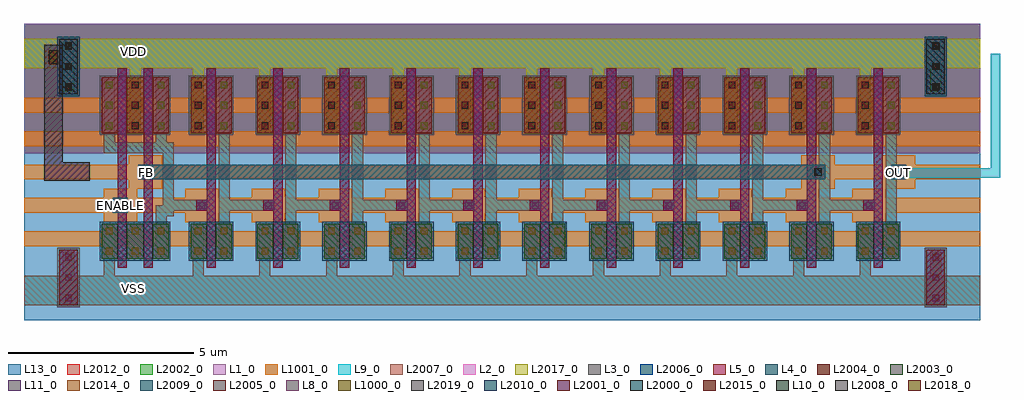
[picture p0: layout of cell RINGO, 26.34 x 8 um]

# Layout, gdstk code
import gdstk
lib = gdstk.Library(unit=1e-6, precision=1e-09)
def R(c, l, rs):  # rectangles x0, y0, x1, y1
    for r in rs: c.add(gdstk.rectangle(r[:2], r[2:], *l))
def A(c, l, x, y, w, h, nx, ny, dx, dy):  # array of equal rectangles
    R(c, l, [(x+i*dx, y+j*dy, x+i*dx+w, y+j*dy+h) for i in range(nx) for j in range(ny)])
def P(c, l, *ps):  # polygons
    for p in ps: c.add(gdstk.Polygon(p, *l))
L1_0 = (1, 0)
L2_0 = (2, 0)
L3_0 = (3, 0)
L4_0 = (4, 0)
L5_0 = (5, 0)
L8_0 = (8, 0)
L9_0 = (9, 0)
L10_0 = (10, 0)
L11_0 = (11, 0)
L13_0 = (13, 0)
L1000_0 = (1000, 0)
L1001_0 = (1001, 0)
L2000_0 = (2000, 0)
L2001_0 = (2001, 0)
L2002_0 = (2002, 0)
L2003_0 = (2003, 0)
L2004_0 = (2004, 0)
L2005_0 = (2005, 0)
L2006_0 = (2006, 0)
L2007_0 = (2007, 0)
L2008_0 = (2008, 0)
L2009_0 = (2009, 0)
L2010_0 = (2010, 0)
L2012_0 = (2012, 0)
L2014_0 = (2014, 0)
L2015_0 = (2015, 0)
L2017_0 = (2017, 0)
L2018_0 = (2018, 0)
L2019_0 = (2019, 0)

circuit_nmos2_2 = lib.new_cell('CIRCUIT_NMOS2$2')
R(circuit_nmos2_2, L2003_0, [(0,0,0.425,0.95)])

circuit_nd2x1_5 = lib.new_cell('CIRCUIT_ND2X1$5')
R(circuit_nd2x1_5, L2005_0, [(0.41,1.77,0.59,1.95), (0.41,2.32,0.59,2.5)])
R(circuit_nd2x1_5, L2007_0, [(0,0.4,2.4,1.2), (1.249,0.799,1.251,0.801), (0.35,1.2,0.65,2.56)])
circuit_nd2x1_5.add(gdstk.Reference(circuit_nmos2_2, (0.3,1.66)))

circuit_invx1_4 = lib.new_cell('CIRCUIT_INVX1$4')
R(circuit_invx1_4, L2005_0, [(0.41,1.77,0.59,1.95), (0.41,2.32,0.59,2.5)])
R(circuit_invx1_4, L2007_0, [(0,0.4,1.8,1.2), (0.949,0.799,0.951,0.801), (0.35,1.2,0.65,2.56)])
circuit_invx1_4.add(gdstk.Reference(circuit_nmos2_2, (0.3,1.66)))

circuit_tie_1 = lib.new_cell('CIRCUIT_TIE$1')
R(circuit_tie_1, L2001_0, [(0.35,0.4,0.85,1.9)])
A(circuit_tie_1, L2005_0, 0.51, 0.51, 0.18, 0.18, 1, 3, 0, 0.55)
R(circuit_tie_1, L2007_0, [(0,0.4,1.2,1.2), (0.45,0.45,0.75,1.85), (0.649,0.799,0.651,0.801)])

circuit_empty_2 = lib.new_cell('CIRCUIT_EMPTY$2')
R(circuit_empty_2, L2007_0, [(0,0.4,0.6,1.2)])

circuit_invx1_5 = lib.new_cell('CIRCUIT_INVX1$5')

circuit_nd2x1_6 = lib.new_cell('CIRCUIT_ND2X1$6')

net_bulk_vss = lib.new_cell('NET_BULK,VSS')
R(net_bulk_vss, L2007_0, [(2.949,0.849,2.951,0.851)])
net_bulk_vss.add(gdstk.Reference(circuit_nd2x1_5, (1.8,0)))
net_bulk_vss.add(gdstk.Reference(circuit_invx1_4, (4.2,0)))
net_bulk_vss.add(gdstk.Reference(circuit_tie_1, (0.6,0)))
net_bulk_vss.add(gdstk.Reference(circuit_empty_2, (0,0)))
net_bulk_vss.add(gdstk.Reference(circuit_invx1_4, (6,0)))
net_bulk_vss.add(gdstk.Reference(circuit_invx1_4, (7.8,0)))
net_bulk_vss.add(gdstk.Reference(circuit_invx1_4, (9.6,0)))
net_bulk_vss.add(gdstk.Reference(circuit_invx1_4, (11.4,0)))
net_bulk_vss.add(gdstk.Reference(circuit_invx1_4, (13.2,0)))
net_bulk_vss.add(gdstk.Reference(circuit_invx1_4, (15,0)))
net_bulk_vss.add(gdstk.Reference(circuit_invx1_4, (16.8,0)))
net_bulk_vss.add(gdstk.Reference(circuit_invx1_4, (18.6,0)))
net_bulk_vss.add(gdstk.Reference(circuit_tie_1, (24,0)))
net_bulk_vss.add(gdstk.Reference(circuit_empty_2, (25.2,0)))
net_bulk_vss.add(gdstk.Reference(circuit_invx1_4, (20.4,0)))
net_bulk_vss.add(gdstk.Reference(circuit_invx1_4, (22.2,0)))
net_bulk_vss.add(gdstk.Reference(circuit_invx1_5, (4.2,0)))
net_bulk_vss.add(gdstk.Reference(circuit_invx1_5, (6,0)))
net_bulk_vss.add(gdstk.Reference(circuit_invx1_5, (7.8,0)))
net_bulk_vss.add(gdstk.Reference(circuit_invx1_5, (9.6,0)))
net_bulk_vss.add(gdstk.Reference(circuit_invx1_5, (11.4,0)))
net_bulk_vss.add(gdstk.Reference(circuit_invx1_5, (13.2,0)))
net_bulk_vss.add(gdstk.Reference(circuit_invx1_5, (15,0)))
net_bulk_vss.add(gdstk.Reference(circuit_invx1_5, (16.8,0)))
net_bulk_vss.add(gdstk.Reference(circuit_invx1_5, (18.6,0)))
net_bulk_vss.add(gdstk.Reference(circuit_invx1_5, (20.4,0)))
net_bulk_vss.add(gdstk.Reference(circuit_invx1_5, (22.2,0)))
net_bulk_vss.add(gdstk.Reference(circuit_nd2x1_6, (1.8,0)))

circuit_m1m2 = lib.new_cell('CIRCUIT_M1M2')
R(circuit_m1m2, L2007_0, [(-0.16,-0.16,0.16,0.16)])
R(circuit_m1m2, L2008_0, [(-0.1,-0.1,0.1,0.1)])
R(circuit_m1m2, L2009_0, [(-0.2,-0.2,0.2,0.2)])

circuit_polym1 = lib.new_cell('CIRCUIT_POLYM1')
R(circuit_polym1, L2005_0, [(-0.09,-0.09,0.09,0.09)])
R(circuit_polym1, L2006_0, [(-0.15,-0.15,0.15,0.15)])
R(circuit_polym1, L2007_0, [(-0.15,-0.15,0.15,0.15)])

circuit_pmos3_2 = lib.new_cell('CIRCUIT_PMOS3$2')
R(circuit_pmos3_2, L2006_0, [(0.425,-0.25,0.675,1.75), (0.425,-0.25,0.675,1.75)])

circuit_nmos2_1 = lib.new_cell('CIRCUIT_NMOS2$1')
R(circuit_nmos2_1, L2006_0, [(0.425,-0.25,0.675,1.2)])

circuit_nd2x1_4 = lib.new_cell('CIRCUIT_ND2X1$4')
R(circuit_nd2x1_4, L2006_0, [(0.725,2.86,0.975,4.8)])
R(circuit_nd2x1_4, L2007_0, [(0.799,3.099,0.801,3.101)])
circuit_nd2x1_4.add(gdstk.Reference(circuit_polym1, (0.8,3.1)))
circuit_nd2x1_4.add(gdstk.Reference(circuit_pmos3_2, (0.3,5.05)))
circuit_nd2x1_4.add(gdstk.Reference(circuit_nmos2_1, (0.3,1.66)))

net_enable = lib.new_cell('NET_ENABLE')
R(net_enable, L2009_0, [(2.599,3.099,2.601,3.101)])
net_enable.add(gdstk.Reference(circuit_m1m2, (2.6,3.1)))
net_enable.add(gdstk.Reference(circuit_nd2x1_4, (1.8,0)))

circuit_pmos3_1 = lib.new_cell('CIRCUIT_PMOS3$1')
R(circuit_pmos3_1, L2004_0, [(0.675,0,1.1,1.5)])

circuit_nmos2 = lib.new_cell('CIRCUIT_NMOS2')
R(circuit_nmos2, L2003_0, [(0.675,0,1.1,0.95)])

circuit_invx1_1 = lib.new_cell('CIRCUIT_INVX1$1')
A(circuit_invx1_1, L2005_0, 1.11, 5.16, 0.18, 0.18, 1, 3, 0, 0.55)
R(circuit_invx1_1, L2005_0, [(1.11,1.77,1.29,1.95), (1.11,2.32,1.29,2.5)])
R(circuit_invx1_1, L2007_0, [(1.05,1.71,1.35,6.5), (1.199,3.999,1.201,4.001)])
circuit_invx1_1.add(gdstk.Reference(circuit_pmos3_1, (0.3,5.05)))
circuit_invx1_1.add(gdstk.Reference(circuit_nmos2, (0.3,1.66)))

net_out = lib.new_cell('NET_OUT')
R(net_out, L2009_0, [(23.599,3.999,23.601,4.001)])
net_out.add(gdstk.Reference(circuit_invx1_1, (22.2,0)))
net_out.add(gdstk.Reference(circuit_m1m2, (23.6,4)))

circuit_pmos3 = lib.new_cell('CIRCUIT_PMOS3')
R(circuit_pmos3, L2004_0, [(0,0,0.425,1.5)])

circuit_nd2x1_2 = lib.new_cell('CIRCUIT_ND2X1$2')
A(circuit_nd2x1_2, L2005_0, 1.11, 5.16, 0.18, 0.18, 1, 3, 0, 0.55)
R(circuit_nd2x1_2, L2007_0, [(1.05,5.1,1.35,6.8), (0,6.8,2.4,7.6), (1.249,7.199,1.251,7.201)])
circuit_nd2x1_2.add(gdstk.Reference(circuit_pmos3_1, (0.3,5.05)))
circuit_nd2x1_2.add(gdstk.Reference(circuit_pmos3, (1,5.05)))

circuit_invx1_2 = lib.new_cell('CIRCUIT_INVX1$2')
A(circuit_invx1_2, L2005_0, 0.41, 5.16, 0.18, 0.18, 1, 3, 0, 0.55)
R(circuit_invx1_2, L2007_0, [(0.35,5.1,0.65,6.5), (0.35,6.5,0.65,6.8), (0,6.8,1.8,7.6), (0.949,7.199,0.951,7.201)])
circuit_invx1_2.add(gdstk.Reference(circuit_pmos3, (0.3,5.05)))

circuit_tie = lib.new_cell('CIRCUIT_TIE')
R(circuit_tie, L2000_0, [(0.35,6.1,0.85,7.6)])
R(circuit_tie, L2002_0, [(-0.1,4.5,1.3,8)])
A(circuit_tie, L2005_0, 0.51, 6.21, 0.18, 0.18, 1, 3, 0, 0.55)
R(circuit_tie, L2007_0, [(0.45,6.15,0.75,7.55), (0,6.8,1.2,7.6), (0.649,7.199,0.651,7.201)])

circuit_nd2x1_3 = lib.new_cell('CIRCUIT_ND2X1$3')
R(circuit_nd2x1_3, L2002_0, [(-0.1,4.5,2.5,8)])

circuit_invx1_3 = lib.new_cell('CIRCUIT_INVX1$3')
R(circuit_invx1_3, L2002_0, [(-0.1,4.5,1.9,8)])

circuit_empty = lib.new_cell('CIRCUIT_EMPTY')
R(circuit_empty, L2002_0, [(0,4.5,0.6,8)])

circuit_empty_1 = lib.new_cell('CIRCUIT_EMPTY$1')
R(circuit_empty_1, L2007_0, [(0,6.8,0.6,7.6)])

net_vdd = lib.new_cell('NET_VDD')
R(net_vdd, L2007_0, [(2.949,7.249,2.951,7.251)])
net_vdd.add(gdstk.Reference(circuit_nd2x1_2, (1.8,0)))
net_vdd.add(gdstk.Reference(circuit_invx1_2, (4.2,0)))
net_vdd.add(gdstk.Reference(circuit_tie, (0.6,0)))
net_vdd.add(gdstk.Reference(circuit_nd2x1_3, (1.8,0)))
net_vdd.add(gdstk.Reference(circuit_invx1_3, (4.2,0)))
net_vdd.add(gdstk.Reference(circuit_empty, (0,0)))
net_vdd.add(gdstk.Reference(circuit_empty_1, (0,0)))
net_vdd.add(gdstk.Reference(circuit_invx1_2, (6,0)))
net_vdd.add(gdstk.Reference(circuit_invx1_3, (6,0)))
net_vdd.add(gdstk.Reference(circuit_invx1_2, (7.8,0)))
net_vdd.add(gdstk.Reference(circuit_invx1_3, (7.8,0)))
net_vdd.add(gdstk.Reference(circuit_invx1_2, (9.6,0)))
net_vdd.add(gdstk.Reference(circuit_invx1_3, (9.6,0)))
net_vdd.add(gdstk.Reference(circuit_invx1_2, (11.4,0)))
net_vdd.add(gdstk.Reference(circuit_invx1_3, (11.4,0)))
net_vdd.add(gdstk.Reference(circuit_invx1_2, (13.2,0)))
net_vdd.add(gdstk.Reference(circuit_invx1_3, (13.2,0)))
net_vdd.add(gdstk.Reference(circuit_invx1_2, (15,0)))
net_vdd.add(gdstk.Reference(circuit_invx1_3, (15,0)))
net_vdd.add(gdstk.Reference(circuit_invx1_2, (16.8,0)))
net_vdd.add(gdstk.Reference(circuit_invx1_3, (16.8,0)))
net_vdd.add(gdstk.Reference(circuit_invx1_2, (18.6,0)))
net_vdd.add(gdstk.Reference(circuit_invx1_3, (18.6,0)))
net_vdd.add(gdstk.Reference(circuit_tie, (24,0)))
net_vdd.add(gdstk.Reference(circuit_empty, (25.2,0)))
net_vdd.add(gdstk.Reference(circuit_empty_1, (25.2,0)))
net_vdd.add(gdstk.Reference(circuit_invx1_2, (20.4,0)))
net_vdd.add(gdstk.Reference(circuit_invx1_2, (22.2,0)))
net_vdd.add(gdstk.Reference(circuit_invx1_3, (20.4,0)))
net_vdd.add(gdstk.Reference(circuit_invx1_3, (22.2,0)))

circuit_invx1 = lib.new_cell('CIRCUIT_INVX1')
R(circuit_invx1, L2006_0, [(0.725,2.86,0.975,4.8)])
R(circuit_invx1, L2007_0, [(0.599,3.099,0.601,3.101)])
circuit_invx1.add(gdstk.Reference(circuit_polym1, (0.6,3.1)))
circuit_invx1.add(gdstk.Reference(circuit_pmos3_2, (0.3,5.05)))
circuit_invx1.add(gdstk.Reference(circuit_nmos2_1, (0.3,1.66)))

circuit_nd2x1_1 = lib.new_cell('CIRCUIT_ND2X1$1')
R(circuit_nd2x1_1, L2006_0, [(1.425,2.86,1.675,4.8)])
R(circuit_nd2x1_1, L2007_0, [(1.499,3.999,1.501,4.001)])
circuit_nd2x1_1.add(gdstk.Reference(circuit_polym1, (1.48,4)))
circuit_nd2x1_1.add(gdstk.Reference(circuit_pmos3_2, (1,5.05)))
circuit_nd2x1_1.add(gdstk.Reference(circuit_nmos2_1, (1,1.66)))

net_fb = lib.new_cell('NET_FB')
R(net_fb, L2007_0, [(21.75,2.95,22.65,3.25)])
R(net_fb, L2009_0, [(3.48,3.8,21.22,4.2), (3.299,3.999,3.301,4.001)])
net_fb.add(gdstk.Reference(circuit_invx1, (22.2,0)))
net_fb.add(gdstk.Reference(circuit_nd2x1_1, (1.8,0)))
net_fb.add(gdstk.Reference(circuit_m1m2, (3.28,4)))
net_fb.add(gdstk.Reference(circuit_m1m2, (21.42,4)))
net_fb.add(gdstk.Reference(circuit_invx1_1, (20.4,0)))

net__10 = lib.new_cell('NET_$10')
R(net__10, L2007_0, [(19.95,2.95,20.85,3.25)])
net__10.add(gdstk.Reference(circuit_invx1, (20.4,0)))
net__10.add(gdstk.Reference(circuit_invx1_1, (18.6,0)))

net__9 = lib.new_cell('NET_$9')
R(net__9, L2007_0, [(18.15,2.95,19.05,3.25)])
net__9.add(gdstk.Reference(circuit_invx1, (18.6,0)))
net__9.add(gdstk.Reference(circuit_invx1_1, (16.8,0)))

net__8 = lib.new_cell('NET_$8')
R(net__8, L2007_0, [(16.35,2.95,17.25,3.25)])
net__8.add(gdstk.Reference(circuit_invx1, (16.8,0)))
net__8.add(gdstk.Reference(circuit_invx1_1, (15,0)))

net__7 = lib.new_cell('NET_$7')
R(net__7, L2007_0, [(14.55,2.95,15.45,3.25)])
net__7.add(gdstk.Reference(circuit_invx1, (15,0)))
net__7.add(gdstk.Reference(circuit_invx1_1, (13.2,0)))

net__6 = lib.new_cell('NET_$6')
R(net__6, L2007_0, [(12.75,2.95,13.65,3.25)])
net__6.add(gdstk.Reference(circuit_invx1, (13.2,0)))
net__6.add(gdstk.Reference(circuit_invx1_1, (11.4,0)))

net__5 = lib.new_cell('NET_$5')
R(net__5, L2007_0, [(10.95,2.95,11.85,3.25)])
net__5.add(gdstk.Reference(circuit_invx1, (11.4,0)))
net__5.add(gdstk.Reference(circuit_invx1_1, (9.6,0)))

net__4 = lib.new_cell('NET_$4')
R(net__4, L2007_0, [(9.15,2.95,10.05,3.25)])
net__4.add(gdstk.Reference(circuit_invx1, (9.6,0)))
net__4.add(gdstk.Reference(circuit_invx1_1, (7.8,0)))

net__3 = lib.new_cell('NET_$3')
R(net__3, L2007_0, [(7.35,2.95,8.25,3.25)])
net__3.add(gdstk.Reference(circuit_invx1, (7.8,0)))
net__3.add(gdstk.Reference(circuit_invx1_1, (6,0)))

net__2 = lib.new_cell('NET_$2')
R(net__2, L2007_0, [(5.55,2.95,6.45,3.25)])
net__2.add(gdstk.Reference(circuit_invx1, (6,0)))
net__2.add(gdstk.Reference(circuit_invx1_1, (4.2,0)))

circuit_nd2x1 = lib.new_cell('CIRCUIT_ND2X1')
A(circuit_nd2x1, L2005_0, 0.41, 5.16, 0.18, 0.18, 1, 3, 0, 0.55)
A(circuit_nd2x1, L2005_0, 1.81, 5.16, 0.18, 0.18, 1, 3, 0, 0.55)
R(circuit_nd2x1, L2005_0, [(1.81,1.77,1.99,1.95), (1.81,2.32,1.99,2.5)])
R(circuit_nd2x1, L2007_0, [(1.94,3.1,2.24,4.5), (2.099,3.999,2.101,4.001), (1.75,4.8,2.05,5.1), (0.35,5.1,0.65,6.5), (1.75,5.1,2.05,6.5)])
P(circuit_nd2x1, L2007_0, [(1.75,1.71),(1.75,3.1),(2.24,3.1),(2.24,2.8),(2.05,2.8),(2.05,1.71)],
  [(0.35,4.5),(0.35,5.1),(0.65,5.1),(0.65,4.8),(2.24,4.8),(2.24,4.5)])
circuit_nd2x1.add(gdstk.Reference(circuit_pmos3, (0.3,5.05)))
circuit_nd2x1.add(gdstk.Reference(circuit_pmos3_1, (1,5.05)))
circuit_nd2x1.add(gdstk.Reference(circuit_nmos2, (1,1.66)))

net__1 = lib.new_cell('NET_$1')
R(net__1, L2007_0, [(4.04,2.95,4.65,3.25)])
net__1.add(gdstk.Reference(circuit_nd2x1, (1.8,0)))
net__1.add(gdstk.Reference(circuit_invx1, (4.2,0)))

m1m2 = lib.new_cell('M1M2')
R(m1m2, L9_0, [(-0.16,-0.16,0.16,0.16)])
R(m1m2, L10_0, [(-0.1,-0.1,0.1,0.1)])
R(m1m2, L11_0, [(-0.2,-0.2,0.2,0.2)])
R(m1m2, L1001_0, [(-0.45,-0.45,0.45,0.45)])

polym1 = lib.new_cell('POLYM1')
R(polym1, L5_0, [(-0.15,-0.15,0.15,0.15)])
R(polym1, L8_0, [(-0.09,-0.09,0.09,0.09)])
R(polym1, L9_0, [(-0.15,-0.15,0.15,0.15)])
R(polym1, L1001_0, [(-0.45,-0.45,0.45,0.45)])

nmos2 = lib.new_cell('NMOS2')
R(nmos2, L2_0, [(0,0,1.1,0.95)])
R(nmos2, L4_0, [(-0.05,-0.05,1.15,1)])
R(nmos2, L5_0, [(0.425,-0.25,0.675,1.2)])
R(nmos2, L1000_0, [(0.11,0.11,0.29,0.29), (0.81,0.11,0.99,0.29), (0.11,0.66,0.29,0.84), (0.81,0.66,0.99,0.84)])
R(nmos2, L1001_0, [(0.05,0.05,0.35,0.9), (0.75,0.05,1.05,0.9)])

pmos3 = lib.new_cell('PMOS3')
R(pmos3, L2_0, [(0,0,1.1,1.5), (0,0,1.1,1.5)])
R(pmos3, L3_0, [(-0.05,-0.05,1.15,1.55)])
R(pmos3, L5_0, [(0.425,-0.25,0.675,1.75), (0.425,-0.25,0.675,1.75)])
A(pmos3, L1000_0, 0.11, 0.11, 0.18, 0.18, 1, 3, 0, 0.55)
A(pmos3, L1000_0, 0.81, 0.11, 0.18, 0.18, 1, 3, 0, 0.55)
R(pmos3, L1001_0, [(0.05,0.05,0.35,1.45), (0.75,0.05,1.05,1.45)])

invx1 = lib.new_cell('INVX1')
R(invx1, L1_0, [(-0.1,4.5,1.9,8)])
R(invx1, L5_0, [(0.725,2.86,0.975,4.8)])
A(invx1, L8_0, 0.41, 5.16, 0.18, 0.18, 1, 3, 0, 0.55)
A(invx1, L8_0, 1.11, 5.16, 0.18, 0.18, 1, 3, 0, 0.55)
R(invx1, L8_0, [(0.41,1.77,0.59,1.95), (1.11,1.77,1.29,1.95), (0.41,2.32,0.59,2.5), (1.11,2.32,1.29,2.5)])
R(invx1, L9_0, [(0,0.4,1.8,1.2), (0.35,1.2,0.65,2.56), (1.05,1.71,1.35,6.5), (0.35,5.1,0.65,6.5), (0.35,6.5,0.65,6.8), (0,6.8,1.8,7.6)])
R(invx1, L13_0, [(0,0,1.8,8)])
invx1.add(gdstk.FlexPath([(0,2.2),(1.8,2.2)], 0.4, ends="flush", simple_path=True, layer=1001, datatype=0))  # L1001_0
invx1.add(gdstk.FlexPath([(0,3.1),(1.8,3.1)], 0.4, ends="flush", simple_path=True, layer=1001, datatype=0))  # L1001_0
invx1.add(gdstk.FlexPath([(0,4),(1.8,4)], 0.4, ends="flush", simple_path=True, layer=1001, datatype=0))  # L1001_0
invx1.add(gdstk.FlexPath([(0,4.9),(1.8,4.9)], 0.4, ends="flush", simple_path=True, layer=1001, datatype=0))  # L1001_0
invx1.add(gdstk.FlexPath([(0,5.8),(1.8,5.8)], 0.4, ends="flush", simple_path=True, layer=1001, datatype=0))  # L1001_0
invx1.add(gdstk.Reference(polym1, (0.6,3.1)))
invx1.add(gdstk.Reference(nmos2, (0.3,1.66)))
invx1.add(gdstk.Reference(pmos3, (0.3,5.05)))
invx1.add(gdstk.Label('VDD', (0.95,7.2), layer=9, texttype=0))
invx1.add(gdstk.Label('VSS', (0.95,0.8), layer=9, texttype=0))
invx1.add(gdstk.Label('IN', (0.6,3.1), layer=9, texttype=0))
invx1.add(gdstk.Label('OUT', (1.2,4), layer=9, texttype=0))

empty = lib.new_cell('EMPTY')
R(empty, L1_0, [(0,4.5,0.6,8)])
R(empty, L9_0, [(0,0.4,0.6,1.2), (0,6.8,0.6,7.6)])
R(empty, L13_0, [(0,0,0.6,8)])
empty.add(gdstk.FlexPath([(0,2.2),(0.6,2.2)], 0.4, ends="flush", simple_path=True, layer=1001, datatype=0))  # L1001_0
empty.add(gdstk.FlexPath([(0,3.1),(0.6,3.1)], 0.4, ends="flush", simple_path=True, layer=1001, datatype=0))  # L1001_0
empty.add(gdstk.FlexPath([(0,4),(0.6,4)], 0.4, ends="flush", simple_path=True, layer=1001, datatype=0))  # L1001_0
empty.add(gdstk.FlexPath([(0,4.9),(0.6,4.9)], 0.4, ends="flush", simple_path=True, layer=1001, datatype=0))  # L1001_0
empty.add(gdstk.FlexPath([(0,5.8),(0.6,5.8)], 0.4, ends="flush", simple_path=True, layer=1001, datatype=0))  # L1001_0

tie = lib.new_cell('TIE')
R(tie, L1_0, [(-0.1,4.5,1.3,8)])
R(tie, L2_0, [(0.35,0.4,0.85,1.9), (0.35,6.1,0.85,7.6)])
R(tie, L3_0, [(0.3,0.35,0.9,1.95)])
R(tie, L4_0, [(0.3,6.05,0.9,7.65)])
A(tie, L8_0, 0.51, 0.51, 0.18, 0.18, 1, 3, 0, 0.55)
A(tie, L8_0, 0.51, 6.21, 0.18, 0.18, 1, 3, 0, 0.55)
R(tie, L9_0, [(0,0.4,1.2,1.2), (0.45,0.45,0.75,1.85), (0.45,6.15,0.75,7.55), (0,6.8,1.2,7.6)])
R(tie, L13_0, [(0,0,1.2,8)])
tie.add(gdstk.FlexPath([(0,2.2),(1.2,2.2)], 0.4, ends="flush", simple_path=True, layer=1001, datatype=0))  # L1001_0
tie.add(gdstk.FlexPath([(0,3.1),(1.2,3.1)], 0.4, ends="flush", simple_path=True, layer=1001, datatype=0))  # L1001_0
tie.add(gdstk.FlexPath([(0,4),(1.2,4)], 0.4, ends="flush", simple_path=True, layer=1001, datatype=0))  # L1001_0
tie.add(gdstk.FlexPath([(0,4.9),(1.2,4.9)], 0.4, ends="flush", simple_path=True, layer=1001, datatype=0))  # L1001_0
tie.add(gdstk.FlexPath([(0,5.8),(1.2,5.8)], 0.4, ends="flush", simple_path=True, layer=1001, datatype=0))  # L1001_0
tie.add(gdstk.Label('VDD', (0.65,7.2), layer=9, texttype=0))
tie.add(gdstk.Label('VSS', (0.65,0.8), layer=9, texttype=0))

net__i3 = lib.new_cell('NET_$I3')
net__i3.add(gdstk.Reference(circuit_nmos2, (0.3,1.66)))
net__i3.add(gdstk.Reference(circuit_nmos2_2, (1,1.66)))

nd2x1 = lib.new_cell('ND2X1')
R(nd2x1, L1_0, [(-0.1,4.5,2.5,8)])
R(nd2x1, L5_0, [(0.725,2.86,0.975,4.8), (1.425,2.86,1.675,4.8)])
A(nd2x1, L8_0, 0.41, 5.16, 0.18, 0.18, 3, 3, 0.7, 0.55)
R(nd2x1, L8_0, [(0.41,1.77,0.59,1.95), (1.81,1.77,1.99,1.95), (0.41,2.32,0.59,2.5), (1.81,2.32,1.99,2.5)])
R(nd2x1, L9_0, [(0,0.4,2.4,1.2), (0.35,1.2,0.65,2.56), (1.75,4.8,2.05,5.1), (0.35,5.1,0.65,6.5), (1.05,5.1,1.35,6.8), (1.75,5.1,2.05,6.5), (0,6.8,2.4,7.6)])
R(nd2x1, L13_0, [(0,0,2.4,8)])
nd2x1.add(gdstk.FlexPath([(0,2.2),(2.4,2.2)], 0.4, ends="flush", simple_path=True, layer=1001, datatype=0))  # L1001_0
nd2x1.add(gdstk.FlexPath([(0,3.1),(2.4,3.1)], 0.4, ends="flush", simple_path=True, layer=1001, datatype=0))  # L1001_0
nd2x1.add(gdstk.FlexPath([(0,4),(2.4,4)], 0.4, ends="flush", simple_path=True, layer=1001, datatype=0))  # L1001_0
nd2x1.add(gdstk.FlexPath([(0,4.9),(2.4,4.9)], 0.4, ends="flush", simple_path=True, layer=1001, datatype=0))  # L1001_0
nd2x1.add(gdstk.FlexPath([(0,5.8),(2.4,5.8),(2.4,5.8)], 0.4, ends="flush", simple_path=True, layer=1001, datatype=0))  # L1001_0
nd2x1.add(gdstk.FlexPath([(1.9,1.71),(1.9,2.95),(2.09,2.95),(2.09,4.65),(0.5,4.65),(0.5,5.1)], 0.3, ends="flush", simple_path=True, layer=9, datatype=0))  # L9_0
nd2x1.add(gdstk.Reference(polym1, (0.8,3.1)))
nd2x1.add(gdstk.Reference(polym1, (1.48,4)))
nd2x1.add(gdstk.Reference(nmos2, (0.3,1.66)))
nd2x1.add(gdstk.Reference(pmos3, (0.3,5.05)))
nd2x1.add(gdstk.Reference(pmos3, (1,5.05)))
nd2x1.add(gdstk.Reference(nmos2, (1,1.66)))
nd2x1.add(gdstk.Reference(net__i3, (0,0)))
nd2x1.add(gdstk.Label('VDD', (1.25,7.2), layer=9, texttype=0))
nd2x1.add(gdstk.Label('VSS', (1.25,0.8), layer=9, texttype=0))
nd2x1.add(gdstk.Label('OUT', (2.1,4), layer=9, texttype=0))
nd2x1.add(gdstk.Label('A', (0.8,3.1), layer=9, texttype=0))
nd2x1.add(gdstk.Label('B', (1.5,4), layer=9, texttype=0))

ringo = lib.new_cell('RINGO')
A(ringo, L9_0, 5.55, 2.95, 0.9, 0.3, 10, 1, 1.8, 0)
R(ringo, L9_0, [(4.04,2.95,4.65,3.25)])
R(ringo, L10_0, [(0.67,6.91,0.91,7.29)])
R(ringo, L2010_0, [(0.95,6.1,1.45,7.6), (24.35,6.1,24.85,7.6)])
A(ringo, L2012_0, 4.1, 4.5, 2, 3.5, 11, 1, 1.8, 0)
R(ringo, L2012_0, [(0,4.5,0.6,8), (0.5,4.5,1.9,8), (1.7,4.5,4.3,8), (23.9,4.5,25.3,8), (25.2,4.5,25.8,8)])
A(ringo, L2014_0, 4.5, 5.05, 0.425, 1.5, 11, 1, 1.8, 0)
R(ringo, L2014_0, [(2.775,5.05,3.2,6.55), (2.8,5.05,3.225,6.55)])
A(ringo, L2015_0, 2.91, 5.16, 0.18, 0.18, 1, 3, 0, 0.55)
A(ringo, L2015_0, 4.61, 5.16, 0.18, 0.18, 11, 3, 1.8, 0.55)
A(ringo, L2015_0, 1.11, 6.21, 0.18, 0.18, 1, 3, 0, 0.55)
A(ringo, L2015_0, 24.51, 6.21, 0.18, 0.18, 1, 3, 0, 0.55)
A(ringo, L2017_0, 4.55, 5.1, 0.3, 1.4, 11, 1, 1.8, 0)
A(ringo, L2017_0, 4.55, 6.5, 0.3, 0.3, 11, 1, 1.8, 0)
A(ringo, L2017_0, 4.2, 6.8, 1.8, 0.8, 11, 1, 1.8, 0)
A(ringo, L2017_0, 5.149, 7.199, 0.002, 0.002, 11, 1, 1.8, 0)
R(ringo, L2017_0, [(2.85,5.1,3.15,6.8), (1.05,6.15,1.35,7.55), (24.45,6.15,24.75,7.55), (0,6.8,0.6,7.6), (0.6,6.8,1.8,7.6), (1.8,6.8,4.2,7.6), (24,6.8,25.2,7.6), (25.2,6.8,25.8,7.6), (1.249,7.199,1.251,7.201), (3.049,7.199,3.051,7.201), (24.649,7.199,24.651,7.201), (2.949,7.249,2.951,7.251)])
R(ringo, L2018_0, [(0.67,6.91,0.91,7.29)])
P(ringo, L2019_0, [(0.54,3.76),(0.54,7.43),(1.04,7.43),(1.04,4.26),(1.78,4.26),(1.78,3.76)])
ringo.add(gdstk.FlexPath([(23.67,3.97),(26.21,3.97),(26.21,7.19)], 0.25, ends="flush", simple_path=True, layer=9, datatype=0))  # L9_0
ringo.add(gdstk.FlexPath([(1.78,4.01),(0.79,4.01),(0.79,7.43)], 0.5, ends="flush", simple_path=True, layer=11, datatype=0))  # L11_0
ringo.add(gdstk.FlexPath([(3.48,4),(21.22,4)], 0.4, ends="flush", simple_path=True, layer=11, datatype=0))  # L11_0
ringo.add(gdstk.Reference(net_bulk_vss, (0,0)))
ringo.add(gdstk.Reference(net_enable, (0,0)))
ringo.add(gdstk.Reference(net_out, (0,0)))
ringo.add(gdstk.Reference(net_vdd, (0,0)))
ringo.add(gdstk.Reference(net_fb, (0,0)))
ringo.add(gdstk.Reference(net__10, (0,0)))
ringo.add(gdstk.Reference(net__9, (0,0)))
ringo.add(gdstk.Reference(net__8, (0,0)))
ringo.add(gdstk.Reference(net__7, (0,0)))
ringo.add(gdstk.Reference(net__6, (0,0)))
ringo.add(gdstk.Reference(net__5, (0,0)))
ringo.add(gdstk.Reference(net__4, (0,0)))
ringo.add(gdstk.Reference(net__3, (0,0)))
ringo.add(gdstk.Reference(net__2, (0,0)))
ringo.add(gdstk.Reference(net__1, (0,0)))
ringo.add(gdstk.Reference(m1m2, (23.6,4)))
ringo.add(gdstk.Reference(invx1, (22.2,0)))
ringo.add(gdstk.Reference(m1m2, (2.6,3.1)))
ringo.add(gdstk.Reference(empty, (0,0)))
ringo.add(gdstk.Reference(empty, (25.2,0)))
ringo.add(gdstk.Reference(tie, (0.6,0)))
ringo.add(gdstk.Reference(tie, (24,0)))
ringo.add(gdstk.Reference(m1m2, (21.42,4)))
ringo.add(gdstk.Reference(m1m2, (3.28,4)))
r = gdstk.Reference(invx1, (4.2,0)); r.repetition = gdstk.Repetition(10, 1, v1=(1.8,0), v2=(0,0)); ringo.add(r)
ringo.add(gdstk.Reference(nd2x1, (1.8,0)))
ringo.add(gdstk.Label('VSS', (2.95,0.85), layer=9, texttype=0))
ringo.add(gdstk.Label('VDD', (2.95,7.25), layer=9, texttype=0))
ringo.add(gdstk.Label('FB', (3.3,4), layer=11, texttype=0))
ringo.add(gdstk.Label('ENABLE', (2.6,3.1), layer=11, texttype=0))
ringo.add(gdstk.Label('OUT', (23.6,4), layer=11, texttype=0))

lib.write_gds('RINGO.gds')
